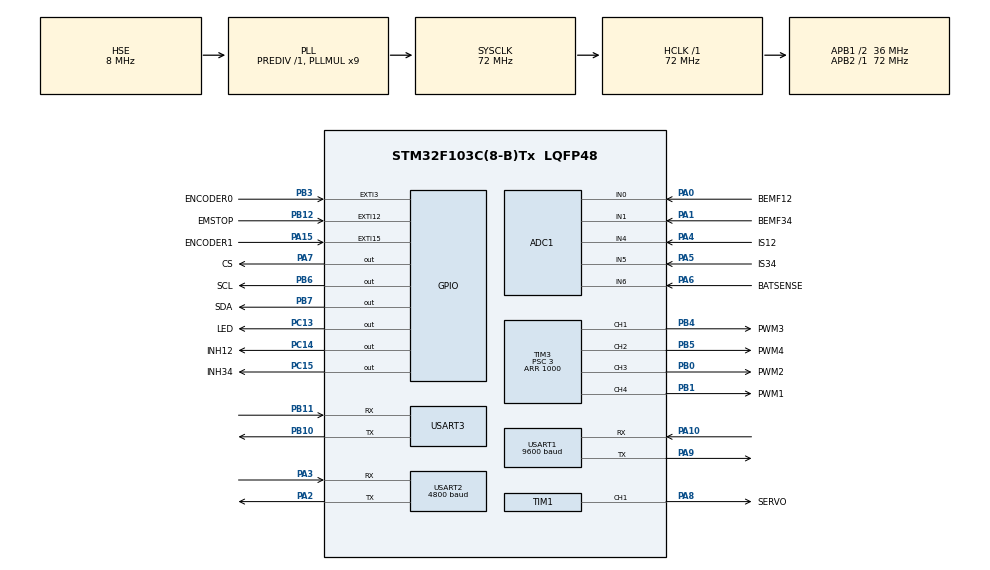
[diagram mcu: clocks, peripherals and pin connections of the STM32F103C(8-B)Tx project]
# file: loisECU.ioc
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Mcu.Family=STM32F1
NVIC.USART3_IRQn=true\:0\:0\:false\:false\:true\:true\:true
PB10.Mode=Asynchronous
USART1.BaudRate=9600
NVIC.EXTI3_IRQn=true\:0\:0\:false\:false\:true\:true\:true
PA6.GPIO_Label=BATSENSE
PB0.GPIO_Label=PWM2
PB6.GPIO_Label=SCL
PB3.GPIO_ModeDefaultEXTI=GPIO_MODE_IT_RISING_FALLING
TIM1.Pulse-PWM\ Generation1\ CH1=6500
PB11.Signal=USART3_RX
PC15-OSC32_OUT.GPIO_Label=INH34
TIM3.Channel-PWM\ Generation4\ CH4=TIM_CHANNEL_4
RCC.SYSCLKSource=RCC_SYSCLKSOURCE_PLLCLK
ProjectManager.StackSize=0x400
PD1-OSC_OUT.Signal=RCC_OSC_OUT
PA15.GPIO_Label=ENCODER1
TIM1.Prescaler=21
PA15.GPIO_ModeDefaultEXTI=GPIO_MODE_IT_RISING_FALLING
ADC1.Channel-3\#ChannelRegularConversion=ADC_CHANNEL_5
RCC.HCLKFreq_Value=72000000
RCC.APB2TimFreq_Value=72000000
TIM3.Period=1000
PB6.Signal=GPIO_Output
Dma.ADC1.0.Direction=DMA_PERIPH_TO_MEMORY
ADC1.Channel-2\#ChannelRegularConversion=ADC_CHANNEL_4
TIM2.ClockDivision=TIM_CLOCKDIVISION_DIV4
Dma.ADC1.0.MemDataAlignment=DMA_MDATAALIGN_WORD
RCC.AHBFreq_Value=72000000
TIM3.Channel-PWM\ Generation1\ CH1=TIM_CHANNEL_1
TIM3.ClockDivision=TIM_CLOCKDIVISION_DIV1
NVIC.EXTI15_10_IRQn=true\:0\:0\:false\:false\:true\:true\:true
ADC1.Channel-0\#ChannelRegularConversion=ADC_CHANNEL_0
RCC.PLLMUL=RCC_PLL_MUL9
PB12.GPIO_Label=EMSTOP
ADC1.SamplingTime-4\#ChannelRegularConversion=ADC_SAMPLETIME_1CYCLE_5
PB3.GPIO_PuPd=GPIO_NOPULL
ADC1.Rank-2\#ChannelRegularConversion=3
TIM1.Channel-PWM\ Generation1\ CH1=TIM_CHANNEL_1
PA14.Mode=Serial_Wire
TIM3.Prescaler=3
PB1.GPIO_Label=PWM1
Dma.ADC1.0.PeriphInc=DMA_PINC_DISABLE
NVIC.TIM2_IRQn=true\:0\:0\:false\:false\:true\:true\:true
PB7.Signal=GPIO_Output
PA8.Signal=S_TIM1_CH1
SH.ADCx_IN0.0=ADC1_IN0,IN0
SH.S_TIM3_CH1.0=TIM3_CH1,PWM Generation1 CH1
TIM4.Period=6550
VP_TIM1_VS_ClockSourceINT.Mode=Internal
ADC1.SamplingTime-0\#ChannelRegularConversion=ADC_SAMPLETIME_1CYCLE_5
PB7.GPIO_Label=SDA
Mcu.Package=LQFP48
TIM2.Prescaler=7250
PB1.Signal=S_TIM3_CH4
PA6.Signal=ADCx_IN6
USART2.VirtualMode=VM_ASYNC
PA10.Signal=USART1_RX
PA15.Signal=GPXTI15
SH.ADCx_IN1.0=ADC1_IN1,IN1
PB5.GPIO_Label=PWM4
RCC.APB1TimFreq_Value=72000000
PC14-OSC32_IN.GPIO_Label=INH12
TIM1.Period=65535
NVIC.USART1_IRQn=true\:0\:0\:false\:false\:true\:true\:true
Dma.Request0=ADC1
PA4.GPIO_Label=IS12
VP_TIM3_VS_ClockSourceINT.Mode=Internal
ADC1.Rank-4\#ChannelRegularConversion=5
PB4.Signal=S_TIM3_CH1
PA3.Signal=USART2_RX
PB3.GPIO_Label=ENCODER0
RCC.PLLSourceVirtual=RCC_PLLSOURCE_HSE
TIM4.AutoReloadPreload=TIM_AUTORELOAD_PRELOAD_ENABLE
Dma.ADC1.0.Instance=DMA1_Channel1
ADC1.Rank-0\#ChannelRegularConversion=1
PD1-OSC_OUT.Mode=HSE-External-Oscillator
ADC1.Channel-4\#ChannelRegularConversion=ADC_CHANNEL_6
PA10.Mode=Asynchronous
TIM3.AutoReloadPreload=TIM_AUTORELOAD_PRELOAD_ENABLE
SH.ADCx_IN6.0=ADC1_IN6,IN6
PC13-TAMPER-RTC.Signal=GPIO_Output
RCC.USBPrescaler=RCC_USBCLKSOURCE_PLL_DIV1_5
PD0-OSC_IN.Signal=RCC_OSC_IN
RCC.APB1CLKDivider=RCC_HCLK_DIV2
PC14-OSC32_IN.Signal=GPIO_Output
SH.S_TIM3_CH3.0=TIM3_CH3,PWM Generation3 CH3
NVIC.USART2_IRQn=true\:0\:0\:false\:false\:true\:true\:true
USART2.BaudRate=4800
ADC1.SamplingTime-2\#ChannelRegularConversion=ADC_SAMPLETIME_1CYCLE_5
PA0-WKUP.GPIO_Label=BEMF12
PA0-WKUP.Signal=ADCx_IN0
RCC.ADCPresc=RCC_ADCPCLK2_DIV6
PA3.Mode=Asynchronous
PA13.Signal=SYS_JTMS-SWDIO
TIM3.Channel-PWM\ Generation3\ CH3=TIM_CHANNEL_3
Dma.ADC1.0.PeriphDataAlignment=DMA_PDATAALIGN_WORD
PA9.Mode=Asynchronous
PA8.GPIO_Label=SERVO
SH.S_TIM1_CH1.0=TIM1_CH1,PWM Generation1 CH1
PB11.Mode=Asynchronous
ProjectManager.TargetToolchain=STM32CubeIDE
Dma.ADC1.0.Mode=DMA_CIRCULAR
Dma.ADC1.0.Priority=DMA_PRIORITY_LOW
PA9.Signal=USART1_TX
ADC1.Channel-1\#ChannelRegularConversion=ADC_CHANNEL_1
RCC.USBFreq_Value=48000000
TIM4.Prescaler=1000
PC15-OSC32_OUT.Signal=GPIO_Output
PA1.Signal=ADCx_IN1
PD0-OSC_IN.Mode=HSE-External-Oscillator
PB10.Signal=USART3_TX
PA5.Signal=ADCx_IN5
SH.S_TIM3_CH2.0=TIM3_CH2,PWM Generation2 CH2
board=custom
PC13-TAMPER-RTC.GPIO_Label=LED
RCC.APB2Freq_Value=72000000
PB4.GPIO_Label=PWM3
TIM4.ClockDivision=TIM_CLOCKDIVISION_DIV4
VP_TIM2_VS_ClockSourceINT.Mode=Internal
VP_TIM4_VS_ClockSourceITR.Mode=TriggerSource_ITR0
PA1.GPIO_Label=BEMF34
SH.ADCx_IN4.0=ADC1_IN4,IN4
TIM2.Period=0xffff
ADC1.NbrOfConversion=5
PA13.Mode=Serial_Wire
Mcu.Name=STM32F103C(8-B)Tx
PA2.Signal=USART2_TX
PB3.Signal=GPXTI3
PA4.Signal=ADCx_IN4
ADC1.SamplingTime-1\#ChannelRegularConversion=ADC_SAMPLETIME_1CYCLE_5
RCC.SYSCLKFreq_VALUE=72000000
PB5.Signal=S_TIM3_CH2
PA7.GPIO_Label=CS
ADC1.master=1
PA5.GPIO_Label=IS34
ADC1.Rank-3\#ChannelRegularConversion=4
ADC1.SamplingTime-3\#ChannelRegularConversion=ADC_SAMPLETIME_1CYCLE_5
USART3.VirtualMode=VM_ASYNC
USART1.VirtualMode=VM_ASYNC
ADC1.Rank-1\#ChannelRegularConversion=2
PA11.Signal=USB_DM
PA14.Signal=SYS_JTCK-SWCLK
Dma.ADC1.0.MemInc=DMA_MINC_ENABLE
ProjectManager.HeapSize=0x200
PB12.GPIO_ModeDefaultEXTI=GPIO_MODE_IT_RISING_FALLING
SH.ADCx_IN5.0=ADC1_IN5,IN5
NVIC.PriorityGroup=NVIC_PRIORITYGROUP_4
ADC1.NbrOfConversionFlag=1
TIM3.Channel-PWM\ Generation2\ CH2=TIM_CHANNEL_2
PA15.GPIO_PuPd=GPIO_NOPULL
PA2.Mode=Asynchronous
TIM2.AutoReloadPreload=TIM_AUTORELOAD_PRELOAD_ENABLE
NVIC.DMA1_Channel1_IRQn=true\:1\:0\:true\:false\:true\:false\:true
PB12.GPIO_PuPd=GPIO_NOPULL
NVIC.TIM4_IRQn=true\:0\:0\:false\:false\:true\:true\:true
RCC.APB1Freq_Value=36000000
PB0.Signal=S_TIM3_CH3
PB12.Signal=GPXTI12
SH.S_TIM3_CH4.0=TIM3_CH4,PWM Generation4 CH4
PA7.Signal=GPIO_Output

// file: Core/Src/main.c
/* USER CODE BEGIN Header */
/**
  ******************************************************************************
  * @file           : main.c
  * @brief          : Main program body
  ******************************************************************************
  * @attention
  *
  * <h2><center>&copy; Copyright (c) 2020 STMicroelectronics.
  * All rights reserved.</center></h2>
  *
  * This software component is licensed by ST under BSD 3-Clause license,
  * the "License"; You may not use this file except in compliance with the
  * License. You may obtain a copy of the License at:
  *                        opensource.org/licenses/BSD-3-Clause
  *
  ******************************************************************************
  */
/* USER CODE END Header */

#include "main.h"

/* USER CODE BEGIN PD */
#define SERVO_OFFSET 1750
#define SERVO_RANGE 6500
#define BALLSHITTER_TIME 2000
/* USER CODE END PD */

ADC_HandleTypeDef hadc1;
DMA_HandleTypeDef hdma_adc1;

TIM_HandleTypeDef htim1;
TIM_HandleTypeDef htim2;
TIM_HandleTypeDef htim3;
TIM_HandleTypeDef htim4;

UART_HandleTypeDef huart1;
UART_HandleTypeDef huart2;
UART_HandleTypeDef huart3;

/* USER CODE BEGIN PV */
// Host communication interface
char interfaceBuf[MEMDEPTH_INTERFACE];
QUEUE_t interfaceQueue;
INTERFACE_Data_t interfaceData;

// RPM control and odometry
ODOMETRY_t odom;
RPMCTRL_t ctrlLeft, ctrlRight;
CTRL_t piLeft, piRight;

// Software I2C
uint8_t wireRx[MEMDEPTH_WIRE];
uint8_t wireTx[MEMDEPTH_WIRE];
QUEUE_t wireRxQueue, wireTxQueue;
WIRE_t wire;

// UART input
char uart3In, uart1In, uart2In;

// Recording
char recordBuf1[MEMDEPTH_RECORD];
char recordBuf2[MEMDEPTH_RECORD];
QUEUE_t record1, record2;
Recordmode recordmode = RECORD_RPM;
bool recordDone = false;
uint32_t records = 0;
uint32_t recordIt = 0;

// Compass and GPS
char kvhBuf[MEMDEPTH_KVH];
char gpsBuf[MEMDEPTH_GPS];
QUEUE_t kvhQueue;
QUEUE_t gpsQueue;

// General data containers
NMEA_InputData_t kvhInput;
MovingAvg_t kvhFilter;
int kvhFilterBuf[MEMDEPTH_KVH_MOVINGAVG];

NMEA_InputData_t gpsInput;

GPSData_t gpsData;

uint32_t adcValues[ADC_SAMPLES];
bool tgl = false;

TERMINALMODE_t terminalMode;

EMERGENCY_t emergencyStop;
bool shit;
/* USER CODE END PV */

void SystemClock_Config(void);
static void MX_GPIO_Init(void);
static void MX_DMA_Init(void);
static void MX_ADC1_Init(void);
static void MX_TIM1_Init(void);
static void MX_TIM2_Init(void);
static void MX_TIM3_Init(void);
static void MX_TIM4_Init(void);
static void MX_USART1_UART_Init(void);
static void MX_USART2_UART_Init(void);
static void MX_USART3_UART_Init(void);

/* USER CODE BEGIN 0 */
/*
 * @brief Toggle SPI chipselect for debugging.
 */
void CSTGL()
{
	tgl = !tgl;
	if(tgl)
	{
	 HAL_GPIO_WritePin(CS_GPIO_Port, CS_Pin, 1);
	}
	else
	{
	 HAL_GPIO_WritePin(CS_GPIO_Port, CS_Pin, 0);
	}
}

/*
 * @brief Disable IRQs
 */
void disableIRQ()
{
	__disable_irq();
}

/*
 * @brief Enable IRQs and restart UART
 */
void enableIRQ()
{
	__enable_irq();
	HAL_UART_Receive_IT(&huart1, (uint8_t*)&uart1In, 1);
	HAL_UART_Receive_IT(&huart2, (uint8_t*)&uart2In, 1);
	HAL_UART_Receive_IT(&huart3, (uint8_t*)&uart3In, 1);
}

/*
 * @brief Send message to host
 * @param message Message payload
 * @prarm len Message length
 */
void INTERFACE_SendMessage(char* message, int len)
{
	if(!TERMINALMODE_IsEnabled(&terminalMode))
	{
		HAL_UART_Transmit(&huart3, (uint8_t*)message, (uint16_t)len, 1000);
	}
}

/*
 * @brief UART ISR
 * @brief Pushes data to corresponding dataqueues depending on operation mode.
 */
void HAL_UART_RxCpltCallback(UART_HandleTypeDef *huart)
{
	disableIRQ();
	if(huart->Instance == huart1.Instance) // GPS receiver
	{
		if(!QUEUE_IsFull(&gpsQueue))
		{
			QUEUE_Push(uart1In, &gpsQueue);
		}

		if(TERMINALMODE_IsEnabled(&terminalMode))
		{
			if(!QUEUE_IsFull(&record2))
			{
				QUEUE_Push(uart1In, &record2);
			}
		}
	}
	else if(huart->Instance == huart2.Instance) // Compass
	{
		if(!QUEUE_IsFull(&kvhQueue))
		{
			QUEUE_Push(uart2In, &kvhQueue);
		}

		if(TERMINALMODE_IsEnabled(&terminalMode))
		{
			if(!QUEUE_IsFull(&record2))
			{
				QUEUE_Push(uart2In, &record2);
			}
		}
	}
	else if(huart->Instance == huart3.Instance) // Host communication
	{
		if(!QUEUE_IsFull(&interfaceQueue))
		{
			QUEUE_Push(uart3In, &interfaceQueue);
		}

		if(TERMINALMODE_IsEnabled(&terminalMode))
		{
			if(!QUEUE_IsFull(&record1))
			{
				QUEUE_Push(uart3In, &record1);
			}
		}
	}
	enableIRQ();
}

/**
 * @brief Process recording activities and send data to host if demanded.
 * @brief Disables and reenables IRQs
 */
void RECORD_Process()
{
	char msgBuf[ROBOT_MESSAGE_MAXLEN];
	int len;
	int instruction;
	if(RECORD_RPM == recordmode || RECORD_CURRENT == recordmode) // RPM or Current
	{
		instruction = ROBOT_INSTRUCTION_RECORDRPM;
		if(RPMCTRL_IsRecordDone(&ctrlLeft) && RPMCTRL_IsRecordDone(&ctrlRight))
		{
			disableIRQ();
			RPMCTRL_StopRecord(&ctrlLeft);
			RPMCTRL_StopRecord(&ctrlRight);
			while(!QUEUE_IsEmpty(&record1) || !QUEUE_IsEmpty(&record2))
			{	  if(!QUEUE_IsEmpty(&kvhQueue))
			  {
				  NMEA_Parse(QUEUE_Pop(&kvhQueue), &kvhInput);
			  }
				uint16_t val1 = 10;
				uint16_t val2 = 10;
				if(!QUEUE_IsEmpty(&record1))
				{
					val1 = QUEUE_Pop16(&record1);
				}
				if(!QUEUE_IsEmpty(&record2))
				{
					val2 = QUEUE_Pop16(&record2);
				}
				len = INTERFACE_CreateMessage16(msgBuf, ROBOT_INSTRUCTION_RECORDRPM, val1, val2);
				INTERFACE_SendMessage(msgBuf, len);
			}
			len = INTERFACE_CreateMessage16(msgBuf, instruction, 0, 0);
			INTERFACE_SendMessage(msgBuf, len);
			INTERFACE_ResetPeriodics();
			enableIRQ();
		}
	}
	else if(RECORD_HEADING == recordmode && recordDone) // Compass heading
	{
		uint16_t val1 = 0;
		uint16_t val2 = 0;
		instruction = ROBOT_INSTRUCTION_RECORDHEADING;
		disableIRQ();
		while(!QUEUE_IsEmpty(&record1))
		{
			val1 = 362;
			val2 = 362;
			if(!QUEUE_IsEmpty(&record1))
			{
				val1 = QUEUE_Pop16(&record1);
			}
			if(!QUEUE_IsEmpty(&record1))
			{
				val2 = QUEUE_Pop16(&record1);
			}
			len = INTERFACE_CreateMessage16(msgBuf, instruction, val1, val2);
			INTERFACE_SendMessage(msgBuf, len);
		}
		while(!QUEUE_IsEmpty(&record2))
		{
			val1 = 362;
			val2 = 362;
			if(!QUEUE_IsEmpty(&record2))
			{
				val1 = QUEUE_Pop16(&record2);
			}
			if(!QUEUE_IsEmpty(&record2))
			{
				val2 = QUEUE_Pop16(&record2);
			}
			len = INTERFACE_CreateMessage16(msgBuf, instruction, val1, val2);
			INTERFACE_SendMessage(msgBuf, len);
		}
		len = INTERFACE_CreateMessage16(msgBuf, instruction, 362, 362);
		INTERFACE_SendMessage(msgBuf, len);
		recordmode = RECORD_RPM;
		recordDone = false;
		INTERFACE_ResetPeriodics();
		enableIRQ();
	}
}

/*
 * @brief Callback for host data processing
 * @param dat Received data
 */
void INTERFACE_Process(INTERFACE_Data_t* dat)
{
	disableIRQ();
	switch(dat->instruction)
	{
	case ROBOT_INSTRUCTION_DUTYCYCLE:
		RPMCTRL_Ignore(&ctrlLeft, true, &piLeft);
		RPMCTRL_Ignore(&ctrlRight, true, &piRight);
		RPMCTRL_SetDest(&ctrlLeft, (int)((short)dat->val1), &piLeft);
		RPMCTRL_SetDest(&ctrlRight, (int)((short)dat->val2), &piRight);
		break;
	case ROBOT_INSTRUCTION_RPM:
		RPMCTRL_Ignore(&ctrlLeft, false, &piLeft);
		RPMCTRL_Ignore(&ctrlRight, false, &piRight);
		RPMCTRL_SetDest(&ctrlLeft, (int)((short)dat->val1), &piLeft);
		RPMCTRL_SetDest(&ctrlRight, (int)((short)dat->val2), &piRight);
		break;
	case ROBOT_INSTRUCTION_LED:
		HAL_GPIO_WritePin(LED_GPIO_Port, LED_Pin, (GPIO_PinState)dat->val2);
		break;
	case ROBOT_INSTRUCTION_RECORDRPM:
		recordmode = RECORD_RPM;
		RPMCTRL_StartRecord(&ctrlLeft, (uint32_t)dat->val1, &record1, false);
		RPMCTRL_StartRecord(&ctrlRight, (uint32_t)dat->val2, &record2, false);
		break;
	case ROBOT_INSTRUCTION_RECORDCURRENT:
		recordmode = RECORD_CURRENT;
		RPMCTRL_StartRecord(&ctrlLeft, (uint32_t)dat->val1, &record1, true);
		RPMCTRL_StartRecord(&ctrlRight, (uint32_t)dat->val2, &record2, true);
		break;
	case ROBOT_INSTRUCTION_LEFT_KP:
		CTRL_Init(piLeft.Ka, float_2x16(dat->val1, dat->val2), piLeft.Tn, piLeft.Td, piLeft.T, piLeft.Lp, piLeft.maxIn, piLeft.maxOut, &piLeft);
		break;
	case ROBOT_INSTRUCTION_LEFT_TN:
		CTRL_Init(piLeft.Ka, piLeft.Kp, float_2x16(dat->val1, dat->val2), piLeft.Td, piLeft.T, piLeft.Lp, piLeft.maxIn, piLeft.maxOut, &piLeft);
		break;
	case ROBOT_INSTRUCTION_LEFT_TD:
		CTRL_Init(piLeft.Ka, piLeft.Kp, piLeft.Tn, float_2x16(dat->val1, dat->val2), piLeft.T, piLeft.Lp, piLeft.maxIn, piLeft.maxOut, &piLeft);
		break;
	case ROBOT_INSTRUCTION_LEFT_KA:
		CTRL_Init(float_2x16(dat->val1, dat->val2), piLeft.Kp, piLeft.Tn, piLeft.Td, piLeft.T, piLeft.Lp, piLeft.maxIn, piLeft.maxOut, &piLeft);
		break;
	case ROBOT_INSTRUCTION_RIGHT_KP:
		CTRL_Init(piRight.Ka, float_2x16(dat->val1, dat->val2), piRight.Tn, piRight.Td, piRight.T, piRight.Lp, piRight.maxIn, piRight.maxOut, &piRight);
		break;
	case ROBOT_INSTRUCTION_RIGHT_TN:
		CTRL_Init(piRight.Ka, piRight.Kp, float_2x16(dat->val1, dat->val2), piRight.Td, piRight.T, piRight.Lp, piRight.maxIn, piRight.maxOut, &piRight);
		break;
	case ROBOT_INSTRUCTION_RIGHT_TD:
		CTRL_Init(piRight.Ka, piRight.Kp, piRight.Tn, float_2x16(dat->val1, dat->val2), piRight.T, piRight.Lp, piRight.maxIn, piRight.maxOut, &piRight);
		break;
	case ROBOT_INSTRUCTION_RIGHT_KA:
		CTRL_Init(float_2x16(dat->val1, dat->val2), piRight.Kp, piRight.Tn, piRight.Td, piRight.T, piRight.Lp, piRight.maxIn, piRight.maxOut, &piRight);
		break;
	case ROBOT_INSTRUCTION_RPM_LOWPASS:
		CTRL_Init(piLeft.Ka, piLeft.Kp, piLeft.Tn, piLeft.Td, piLeft.T, float_2x16(dat->val1, dat->val2), piLeft.maxIn, piLeft.maxOut, &piLeft);
		CTRL_Init(piRight.Ka, piRight.Kp, piRight.Tn, piRight.Td, piRight.T, float_2x16(dat->val1, dat->val2), piRight.maxIn, piRight.maxOut, &piRight);
		break;
	case ROBOT_INSTRUCTION_RECORDHEADING:
		records = uint32_2x16(dat->val1, dat->val2);
		recordDone = false;
		recordIt = 0;
		QUEUE_Reset(&record1);
		QUEUE_Reset(&record2);
		recordmode = RECORD_HEADING;
		break;
	case ROBOT_PERIODIC_DATE:
	case ROBOT_PERIODIC_ENCODERS:
	case ROBOT_PERIODIC_HEADING:
	case ROBOT_PERIODIC_LATLON:
	case ROBOT_PERIODIC_TIME:
		INTERFACE_SetPeriod((uint8_t)dat->instruction, dat->val2);
		break;
	case ROBOT_INSTRUCTION_TERMINALMODE:
		TERMINALMODE_Config(&terminalMode, dat->val2);
		INTERFACE_EnableCRC(!(TERMINAL_NOCS == terminalMode.input));
	case ROBOT_INSTRUCTION_LEFT_CORRFAC_SHORT:
		ctrlLeft.corrfacShort = float_2x16(dat->val1, dat->val2);
		break;
	case ROBOT_INSTRUCTION_LEFT_CORRFAC_LONG:
		ctrlLeft.corrfacLong = float_2x16(dat->val1, dat->val2);
		break;
	case ROBOT_INSTRUCTION_RIGHT_CORRFAC_SHORT:
		ctrlRight.corrfacShort = float_2x16(dat->val1, dat->val2);
		break;
	case ROBOT_INSTRUCTION_RIGHT_CORRFAC_LONG:
		ctrlRight.corrfacLong = float_2x16(dat->val1, dat->val2);
		break;
	case ROBOT_INSTRUCTION_RESET:
		ctrlLeft.eternalTicks = 0;
		ctrlRight.eternalTicks = 0;
		break;
	case ROBOT_INSTRUCTION_BALLSHIT:
		shit = true;
		break;
	default: break;
	}
	enableIRQ();
}

/*
 * @brief Get Systick with 100 us resolution.
 * @brief Can overflow.
 * @return Time in us
 */
uint32_t getTick()
{
	return htim2.Instance->CNT * 100;
}

/**
 * @brief Interrupt for first encoder
 */
void ISR_ENCODER1(void)
{
	disableIRQ();
	static bool isLow = false;
	static uint32_t tick = 0;
	tick = getTick();
	isLow = !(GPIO_PIN_SET == HAL_GPIO_ReadPin(ENCODER1_GPIO_Port, ENCODER1_Pin));
	RPMCTRL_Tick(&ctrlLeft, tick, isLow);
	ODOMETRY_Update(&odom, ctrlLeft.rpm, ctrlRight.rpm, tick);
	enableIRQ();
}

/*
 * @brief Interrupt for second encoder
 */
void ISR_ENCODER0(void)
{
	disableIRQ();
	static bool isLow = false;
	static uint32_t tick = 0;
	tick = getTick();
	isLow = !(GPIO_PIN_SET == HAL_GPIO_ReadPin(ENCODER0_GPIO_Port, ENCODER0_Pin));
	RPMCTRL_Tick(&ctrlRight, tick, isLow);
	ODOMETRY_Update(&odom, ctrlLeft.rpm, ctrlRight.rpm, tick);
	enableIRQ();
}

/*
 * @brief 10 Hz timer interrupt for control loops
 */
void ISR_10Hz(void)
{
	disableIRQ();
	HAL_GPIO_WritePin(CS_GPIO_Port, CS_Pin, 1);
	RPMCTRL_Update(&ctrlLeft, &piLeft);
	RPMCTRL_Update(&ctrlRight, &piRight);
	Powertrain_SetDutycycles(ctrlLeft.dutyCycle, ctrlRight.dutyCycle);
	ADCFILTER_Process(adcValues, ADC_SAMPLES);
	RPMCTRL_SetAvgTorque(&ctrlLeft, (uint16_t)ADCFILTER_Values[ADC_IS12]);
	RPMCTRL_SetAvgTorque(&ctrlRight, (uint16_t)ADCFILTER_Values[ADC_IS34]);
	HAL_ADC_Start_DMA(&hadc1, adcValues, ADC_SAMPLES);
	HAL_GPIO_WritePin(CS_GPIO_Port, CS_Pin, 0);
	enableIRQ();
}

/*
 * @brief Emergency button event
 */
void ISR_EMSTOP(void)
{
	static bool isLow = false;
	isLow = (GPIO_PIN_SET == HAL_GPIO_ReadPin(EMSTOP_GPIO_Port, EMSTOP_Pin));

	emergencyStop.isEvent = true;
	emergencyStop.isEmergency = isLow;

	Powertrain_SetDutycycles(0, 0);
	RPMCTRL_SetDest(&ctrlLeft, 0, &piLeft);
	RPMCTRL_SetDest(&ctrlRight, 0, &piRight);
}

/*
 * @brief NMEA HDT data callback from compass
 * @param dat HDT data
 */
void NMEA_CallbackHDT(NMEA_HDTData_t* dat)
{
	MOVINGAVG_AddSample(&kvhFilter, (int)dat->heading);
	MOVINGAVG_Calculate(&kvhFilter);
	if(kvhFilter.output > 180)
	{
		kvhFilter.output -= 360;
	}

	if(RECORD_HEADING == recordmode)
	{
		if(recordIt < records)
		{
			if(!QUEUE_IsFull(&record1))
			{
				QUEUE_Push16((uint16_t)kvhFilter.output, &record1);
			}
			else if(!QUEUE_IsFull(&record2))
			{
				QUEUE_Push16((uint16_t)kvhFilter.output, &record2);
			}
			recordIt ++;
		}
		else
		{
			recordDone = true;
		}
	}
}

/*
 * @brief NMEA RMC data callback from GPS
 * @param dat RMC data
 */
void NMEA_CallbackRMC(NMEA_RMCData_t* dat)
{
	gpsData.latitude = dat->latitude;
	gpsData.longitude = dat->longitude;
	gpsData.day = dat->day;
	gpsData.month = dat->month;
	gpsData.year = dat->year;
	gpsData.hours = dat->hours;
	gpsData.minutes = dat->minutes;
	gpsData.seconds = dat->seconds;
}

void ISR_DMA(void){}

/**
 * @brief Process periodical messages and send them to host.
 * @param p Required periodic
 */
void INTERFACE_PeriodicRequired(INTERFACE_Periodic_t* p)
{
	char msgBuf[ROBOT_MESSAGE_MAXLEN];
	int len;
	disableIRQ();
	switch(p->id)
	{
	case ROBOT_PERIODIC_HEADING:
		len = INTERFACE_CreateMessage16(msgBuf, p->id, 0, (uint16_t)kvhFilter.output);
		INTERFACE_SendMessage(msgBuf, len);
		break;
	case ROBOT_PERIODIC_LATLON:
		len = INTERFACE_CreateMessage32(msgBuf, p->id, 0xffffffff);
		INTERFACE_SendMessage(msgBuf, len);
		len = INTERFACE_CreateMessageFloat(msgBuf, p->id, gpsData.latitude);
		INTERFACE_SendMessage(msgBuf, len);
		len = INTERFACE_CreateMessageFloat(msgBuf, p->id, gpsData.longitude);
		INTERFACE_SendMessage(msgBuf, len);
		break;
	case ROBOT_PERIODIC_TIME:
		len = INTERFACE_CreateMessage8(msgBuf,
				p->id,
				0,
				(uint8_t)gpsData.hours,
				(uint8_t)gpsData.minutes,
				(uint8_t)gpsData.seconds);
		INTERFACE_SendMessage(msgBuf, len);
		break;
	case ROBOT_PERIODIC_DATE:
		len = INTERFACE_CreateMessage8(msgBuf,
				p->id,
				0,
				(uint8_t)gpsData.year,
				(uint8_t)gpsData.month,
				(uint8_t)gpsData.day);
		INTERFACE_SendMessage(msgBuf, len);
		break;
	case ROBOT_PERIODIC_ENCODERS:
		len = INTERFACE_CreateMessage32(msgBuf, p->id, 0xffffffff);
		INTERFACE_SendMessage(msgBuf, len);
		len = INTERFACE_CreateMessage32(msgBuf, p->id, HAL_GetTick());
		INTERFACE_SendMessage(msgBuf, len);
		len = INTERFACE_CreateMessage32(msgBuf, p->id, (uint32_t)((int)ctrlLeft.eternalTicks));
		INTERFACE_SendMessage(msgBuf, len);
		len = INTERFACE_CreateMessage32(msgBuf, p->id, (uint32_t)((int)ctrlRight.eternalTicks));
		INTERFACE_SendMessage(msgBuf, len);
	case ROBOT_PERIODIC_ODOM:
		len = INTERFACE_CreateMessage32(msgBuf, p->id, 0xffffffff);
		INTERFACE_SendMessage(msgBuf, len);
		INTERFACE_CreateMessageFloat(msgBuf, p->id, odom.x);
		INTERFACE_SendMessage(msgBuf, len);
		INTERFACE_CreateMessageFloat(msgBuf, p->id, odom.y);
		INTERFACE_SendMessage(msgBuf, len);
		INTERFACE_CreateMessageFloat(msgBuf, p->id, odom.o);
		INTERFACE_SendMessage(msgBuf, len);
		INTERFACE_CreateMessageFloat(msgBuf, p->id, odom.dx);
		INTERFACE_SendMessage(msgBuf, len);
		INTERFACE_CreateMessageFloat(msgBuf, p->id, odom.dy);
		INTERFACE_SendMessage(msgBuf, len);
		INTERFACE_CreateMessageFloat(msgBuf, p->id, odom.w);
		INTERFACE_SendMessage(msgBuf, len);
	default: break;
	}
	enableIRQ();
}

/*
 * @brief Process terminal modes used for direct UART sensor pass-through.
 */
void TERMINAL_Process()
{
	  if(TERMINALMODE_IsEnabled(&terminalMode))
	  {
		  while(!QUEUE_IsEmpty(&record1))
		  {
			  char c = QUEUE_Pop(&record1);

			  if(TERMINALMODE_IsEnabled(&terminalMode))
			  {
			  	switch(terminalMode.input)
			  	{
			  		case TERMINAL_UART1: HAL_UART_Transmit(&huart1, (uint8_t*)&c, 1, 100); break;
			  		case TERMINAL_UART2: HAL_UART_Transmit(&huart2, (uint8_t*)&c, 1, 100); break;
			  		default: break;
			  	}
			  }
		  }
		  while(!QUEUE_IsEmpty(&record2))
		  {
			  char c = QUEUE_Pop(&record2);
			  HAL_UART_Transmit(&huart3, (uint8_t*)&c, 1, 1000);
		  }
	  }
}

/*
 * @brief Process GPS data from receive buffer
 */
void GPS_Process()
{
	  while(!QUEUE_IsEmpty(&gpsQueue))
	  {
		  NMEA_Parse(QUEUE_Pop(&gpsQueue), &gpsInput);
	  }
}

/*
 * @brief Process compass data from receive buffer
 */
void KVH_Process()
{
	  while(!QUEUE_IsEmpty(&kvhQueue))
	  {
		  NMEA_Parse(QUEUE_Pop(&kvhQueue), &kvhInput);
	  }
}

/*
 * @brief Process emergency events
 */
void EMERGENCY_Process()
{
	if(emergencyStop.isEvent)
	{
		emergencyStop.isEvent = false;
		char buf[INTERFACE_MSG_LEN + 1];
		int len = INTERFACE_CreateMessage16(buf, ROBOT_INSTRUCTION_EMSTOP, 0, emergencyStop.isEmergency);
		INTERFACE_SendMessage(buf, len);
	}
}
/* USER CODE END 0 */

int main(void)
{

  /* MCU Configuration--------------------------------------------------------*/

  /* Reset of all peripherals, Initializes the Flash interface and the Systick. */
  HAL_Init();

  /* Configure the system clock */
  SystemClock_Config();

  /* USER CODE BEGIN SysInit */
  // Init recording
  QUEUE_Init(&record1, recordBuf1, MEMDEPTH_RECORD);
  QUEUE_Init(&record2, recordBuf2, MEMDEPTH_RECORD);

  // Init host communication
  QUEUE_Init(&interfaceQueue, interfaceBuf, MEMDEPTH_INTERFACE);
  INTERFACE_Init();
  INTERFACE_AddPeriodic(ROBOT_PERIODIC_LATLON, ROBOT_PERIOD_LATLON);
  INTERFACE_AddPeriodic(ROBOT_PERIODIC_TIME, ROBOT_PERIOD_TIME);
  INTERFACE_AddPeriodic(ROBOT_PERIODIC_DATE, ROBOT_PERIOD_DATE);
  INTERFACE_AddPeriodic(ROBOT_PERIODIC_HEADING, ROBOT_PERIOD_HEADING);
  INTERFACE_AddPeriodic(ROBOT_PERIODIC_ENCODERS, ROBOT_PERIOD_ENCODERS);
  INTERFACE_AddPeriodic(ROBOT_PERIODIC_ODOM, ROBOT_PERIOD_ODOM);

  // Init RPM control
  CTRL_Init(ROBOT_LEFT_KA, ROBOT_LEFT_KP, ROBOT_LEFT_TN, ROBOT_LEFT_TD, ROBOT_RPMCTRL_T, ROBOT_LEFT_LP, ROBOT_RPM_MAX, ROBOT_DUTYCYCLE_MAX, &piLeft);
  CTRL_Init(ROBOT_RIGHT_KA, ROBOT_RIGHT_KP, ROBOT_RIGHT_TN, ROBOT_RIGHT_TD, ROBOT_RPMCTRL_T, ROBOT_RIGHT_LP, ROBOT_RPM_MAX, ROBOT_DUTYCYCLE_MAX, &piRight);
  RPMCTRL_Init(ROBOT_ENCODER_STEPS, ROBOT_LEFT_CORRFACSHORT, ROBOT_LEFT_CORRFACLONG, &ctrlLeft);
  RPMCTRL_Init(ROBOT_ENCODER_STEPS, ROBOT_RIGHT_CORRFACSHORT, ROBOT_RIGHT_CORRFACLONG, &ctrlRight);
  ODOMETRY_Init(ROBOT_ENCODER_STEPS, ROBOT_WHEELRADIUS_M, ROBOT_WHEELWIDTH_M, &odom);

  // Init UART sensors
  QUEUE_Init(&kvhQueue, kvhBuf, MEMDEPTH_KVH);
  QUEUE_Init(&gpsQueue, gpsBuf, MEMDEPTH_GPS);

  MOVINGAVG_Init(&kvhFilter, kvhFilterBuf, MEMDEPTH_KVH_MOVINGAVG);
  NMEA_Init(&kvhInput);

  NMEA_Init(&gpsInput);

  TERMINALMODE_Config(&terminalMode, TERMINAL_DISABLE);

  emergencyStop.isEmergency = false;
  emergencyStop.isEvent = false;
  __enable_irq();

  /* USER CODE END SysInit */

  /* Initialize all configured peripherals */
  MX_GPIO_Init();
  MX_DMA_Init();
  MX_ADC1_Init();
  MX_TIM1_Init();
  MX_TIM2_Init();
  MX_TIM3_Init();
  MX_TIM4_Init();
  MX_USART1_UART_Init();
  MX_USART2_UART_Init();
  MX_USART3_UART_Init();
  /* USER CODE BEGIN 2 */

  Powertrain_Init();
  Ballshitter_Init();
  //KVH_Init();

  // Init software I2C
  QUEUE_Init(&wireRxQueue, (char*)wireRx, 20);
  QUEUE_Init(&wireTxQueue, (char*)wireTx, 20);
  WIRE_Init(&wire,
		  SDA_GPIO_Port, SDA_Pin,
		  SCL_GPIO_Port, SCL_Pin,
		  400,
		  &wireRxQueue, &wireTxQueue);
  WIRE_Begin(&wire);

  /* USER CODE END 2 */

  /* Infinite loop */
  /* USER CODE BEGIN WHILE */
  while (1)
  {
//	  disableIRQ();
//	  __disable_irq();
	  INTERFACE_Parse(&interfaceQueue);
	  RECORD_Process();
	  INTERFACE_ProcessPeriodics();
	  TERMINAL_Process();
	  KVH_Process();
//	  GPS_Process();
	  EMERGENCY_Process();
	  Ballshitter_Drop();
//	  	__enable_irq();

//	  	HAL_UART_Receive_IT(&huart1, (uint8_t*)&uart1In, 1);
//	  	HAL_UART_Receive_IT(&huart2, (uint8_t*)&uart2In, 1);
//	  	HAL_UART_Receive_IT(&huart3, (uint8_t*)&uart3In, 1);
//	    HAL_TIM_Base_Start_IT(&htim2);
//	    HAL_TIM_PWM_Start(&htim3, TIM_CHANNEL_1);
//	    HAL_TIM_PWM_Start(&htim3, TIM_CHANNEL_2);
//	    HAL_TIM_PWM_Start(&htim3, TIM_CHANNEL_3);
//	    HAL_TIM_PWM_Start(&htim3, TIM_CHANNEL_4);
//	    HAL_TIM_Base_Start_IT(&htim4);
//	  HAL_Delay(200);
//	  enableIRQ();
    /* USER CODE END WHILE */

  }
}

void SystemClock_Config(void)
{
  RCC_OscInitTypeDef RCC_OscInitStruct = {0};
  RCC_ClkInitTypeDef RCC_ClkInitStruct = {0};
  RCC_PeriphCLKInitTypeDef PeriphClkInit = {0};

  /** Initializes the CPU, AHB and APB busses clocks
  */
  RCC_OscInitStruct.OscillatorType = RCC_OSCILLATORTYPE_HSE;
  RCC_OscInitStruct.HSEState = RCC_HSE_ON;
  RCC_OscInitStruct.HSEPredivValue = RCC_HSE_PREDIV_DIV1;
  RCC_OscInitStruct.HSIState = RCC_HSI_ON;
  RCC_OscInitStruct.PLL.PLLState = RCC_PLL_ON;
  RCC_OscInitStruct.PLL.PLLSource = RCC_PLLSOURCE_HSE;
  RCC_OscInitStruct.PLL.PLLMUL = RCC_PLL_MUL9;
  if (HAL_RCC_OscConfig(&RCC_OscInitStruct) != HAL_OK)
  {
    Error_Handler();
  }
  /** Initializes the CPU, AHB and APB busses clocks
  */
  RCC_ClkInitStruct.ClockType = RCC_CLOCKTYPE_HCLK|RCC_CLOCKTYPE_SYSCLK
                              |RCC_CLOCKTYPE_PCLK1|RCC_CLOCKTYPE_PCLK2;
  RCC_ClkInitStruct.SYSCLKSource = RCC_SYSCLKSOURCE_PLLCLK;
  RCC_ClkInitStruct.AHBCLKDivider = RCC_SYSCLK_DIV1;
  RCC_ClkInitStruct.APB1CLKDivider = RCC_HCLK_DIV2;
  RCC_ClkInitStruct.APB2CLKDivider = RCC_HCLK_DIV1;

  if (HAL_RCC_ClockConfig(&RCC_ClkInitStruct, FLASH_LATENCY_2) != HAL_OK)
  {
    Error_Handler();
  }
  PeriphClkInit.PeriphClockSelection = RCC_PERIPHCLK_ADC;
  PeriphClkInit.AdcClockSelection = RCC_ADCPCLK2_DIV6;
  if (HAL_RCCEx_PeriphCLKConfig(&PeriphClkInit) != HAL_OK)
  {
    Error_Handler();
  }
}

static void MX_ADC1_Init(void)
{

  ADC_ChannelConfTypeDef sConfig = {0};

  /** Common config
  */
  hadc1.Instance = ADC1;
  hadc1.Init.ScanConvMode = ADC_SCAN_ENABLE;
  hadc1.Init.ContinuousConvMode = DISABLE;
  hadc1.Init.DiscontinuousConvMode = DISABLE;
  hadc1.Init.ExternalTrigConv = ADC_SOFTWARE_START;
  hadc1.Init.DataAlign = ADC_DATAALIGN_RIGHT;
  hadc1.Init.NbrOfConversion = 5;
  if (HAL_ADC_Init(&hadc1) != HAL_OK)
  {
    Error_Handler();
  }
  /** Configure Regular Channel
  */
  sConfig.Channel = ADC_CHANNEL_0;
  sConfig.Rank = ADC_REGULAR_RANK_1;
  sConfig.SamplingTime = ADC_SAMPLETIME_1CYCLE_5;
  if (HAL_ADC_ConfigChannel(&hadc1, &sConfig) != HAL_OK)
  {
    Error_Handler();
  }
  /** Configure Regular Channel
  */
  sConfig.Channel = ADC_CHANNEL_1;
  sConfig.Rank = ADC_REGULAR_RANK_2;
  if (HAL_ADC_ConfigChannel(&hadc1, &sConfig) != HAL_OK)
  {
    Error_Handler();
  }
  /** Configure Regular Channel
  */
  sConfig.Channel = ADC_CHANNEL_4;
  sConfig.Rank = ADC_REGULAR_RANK_3;
  if (HAL_ADC_ConfigChannel(&hadc1, &sConfig) != HAL_OK)
  {
    Error_Handler();
  }
  /** Configure Regular Channel
  */
  sConfig.Channel = ADC_CHANNEL_5;
  sConfig.Rank = ADC_REGULAR_RANK_4;
  if (HAL_ADC_ConfigChannel(&hadc1, &sConfig) != HAL_OK)
  {
    Error_Handler();
  }
  /** Configure Regular Channel
  */
  sConfig.Channel = ADC_CHANNEL_6;
  sConfig.Rank = ADC_REGULAR_RANK_5;
  if (HAL_ADC_ConfigChannel(&hadc1, &sConfig) != HAL_OK)
  {
    Error_Handler();
  }
  /* USER CODE BEGIN ADC1_Init 2 */
//  hadc1.Init.ContinuousConvMode = ENABLE;
//  if (HAL_ADC_Init(&hadc1) != HAL_OK)
//  {
//    Error_Handler();
//  }
//  HAL_ADC_Start_DMA(&hadc1, adcValues, ADC_SAMPLES);
  /* USER CODE END ADC1_Init 2 */

}

static void MX_TIM1_Init(void)
{

  TIM_ClockConfigTypeDef sClockSourceConfig = {0};
  TIM_MasterConfigTypeDef sMasterConfig = {0};
  TIM_OC_InitTypeDef sConfigOC = {0};
  TIM_BreakDeadTimeConfigTypeDef sBreakDeadTimeConfig = {0};

  htim1.Instance = TIM1;
  htim1.Init.Prescaler = 21;
  htim1.Init.CounterMode = TIM_COUNTERMODE_UP;
  htim1.Init.Period = 65535;
  htim1.Init.ClockDivision = TIM_CLOCKDIVISION_DIV1;
  htim1.Init.RepetitionCounter = 0;
  htim1.Init.AutoReloadPreload = TIM_AUTORELOAD_PRELOAD_DISABLE;
  if (HAL_TIM_Base_Init(&htim1) != HAL_OK)
  {
    Error_Handler();
  }
  sClockSourceConfig.ClockSource = TIM_CLOCKSOURCE_INTERNAL;
  if (HAL_TIM_ConfigClockSource(&htim1, &sClockSourceConfig) != HAL_OK)
  {
    Error_Handler();
  }
  if (HAL_TIM_PWM_Init(&htim1) != HAL_OK)
  {
    Error_Handler();
  }
  sMasterConfig.MasterOutputTrigger = TIM_TRGO_RESET;
  sMasterConfig.MasterSlaveMode = TIM_MASTERSLAVEMODE_DISABLE;
  if (HAL_TIMEx_MasterConfigSynchronization(&htim1, &sMasterConfig) != HAL_OK)
  {
    Error_Handler();
  }
  sConfigOC.OCMode = TIM_OCMODE_PWM1;
  sConfigOC.Pulse = 6500;
  sConfigOC.OCPolarity = TIM_OCPOLARITY_HIGH;
  sConfigOC.OCNPolarity = TIM_OCNPOLARITY_HIGH;
  sConfigOC.OCFastMode = TIM_OCFAST_DISABLE;
  sConfigOC.OCIdleState = TIM_OCIDLESTATE_RESET;
  sConfigOC.OCNIdleState = TIM_OCNIDLESTATE_RESET;
  if (HAL_TIM_PWM_ConfigChannel(&htim1, &sConfigOC, TIM_CHANNEL_1) != HAL_OK)
  {
    Error_Handler();
  }
  sBreakDeadTimeConfig.OffStateRunMode = TIM_OSSR_DISABLE;
  sBreakDeadTimeConfig.OffStateIDLEMode = TIM_OSSI_DISABLE;
  sBreakDeadTimeConfig.LockLevel = TIM_LOCKLEVEL_OFF;
  sBreakDeadTimeConfig.DeadTime = 0;
  sBreakDeadTimeConfig.BreakState = TIM_BREAK_DISABLE;
  sBreakDeadTimeConfig.BreakPolarity = TIM_BREAKPOLARITY_HIGH;
  sBreakDeadTimeConfig.AutomaticOutput = TIM_AUTOMATICOUTPUT_DISABLE;
  if (HAL_TIMEx_ConfigBreakDeadTime(&htim1, &sBreakDeadTimeConfig) != HAL_OK)
  {
    Error_Handler();
  }
  /* USER CODE BEGIN TIM1_Init 2 */
  HAL_TIM_PWM_Start(&htim1, TIM_CHANNEL_1);
  /* USER CODE END TIM1_Init 2 */
  HAL_TIM_MspPostInit(&htim1);

}

static void MX_TIM2_Init(void)
{

  TIM_ClockConfigTypeDef sClockSourceConfig = {0};
  TIM_MasterConfigTypeDef sMasterConfig = {0};

  htim2.Instance = TIM2;
  htim2.Init.Prescaler = 7250;
  htim2.Init.CounterMode = TIM_COUNTERMODE_UP;
  htim2.Init.Period = 0xffff;
  htim2.Init.ClockDivision = TIM_CLOCKDIVISION_DIV4;
  htim2.Init.AutoReloadPreload = TIM_AUTORELOAD_PRELOAD_ENABLE;
  if (HAL_TIM_Base_Init(&htim2) != HAL_OK)
  {
    Error_Handler();
  }
  sClockSourceConfig.ClockSource = TIM_CLOCKSOURCE_INTERNAL;
  if (HAL_TIM_ConfigClockSource(&htim2, &sClockSourceConfig) != HAL_OK)
  {
    Error_Handler();
  }
  sMasterConfig.MasterOutputTrigger = TIM_TRGO_RESET;
  sMasterConfig.MasterSlaveMode = TIM_MASTERSLAVEMODE_DISABLE;
  if (HAL_TIMEx_MasterConfigSynchronization(&htim2, &sMasterConfig) != HAL_OK)
  {
    Error_Handler();
  }
  /* USER CODE BEGIN TIM2_Init 2 */
  HAL_TIM_Base_Start_IT(&htim2);
  /* USER CODE END TIM2_Init 2 */

}

static void MX_TIM3_Init(void)
{

  TIM_ClockConfigTypeDef sClockSourceConfig = {0};
  TIM_MasterConfigTypeDef sMasterConfig = {0};
  TIM_OC_InitTypeDef sConfigOC = {0};

  htim3.Instance = TIM3;
  htim3.Init.Prescaler = 3;
  htim3.Init.CounterMode = TIM_COUNTERMODE_UP;
  htim3.Init.Period = 1000;
  htim3.Init.ClockDivision = TIM_CLOCKDIVISION_DIV1;
  htim3.Init.AutoReloadPreload = TIM_AUTORELOAD_PRELOAD_ENABLE;
  if (HAL_TIM_Base_Init(&htim3) != HAL_OK)
  {
    Error_Handler();
  }
  sClockSourceConfig.ClockSource = TIM_CLOCKSOURCE_INTERNAL;
  if (HAL_TIM_ConfigClockSource(&htim3, &sClockSourceConfig) != HAL_OK)
  {
    Error_Handler();
  }
  if (HAL_TIM_PWM_Init(&htim3) != HAL_OK)
  {
    Error_Handler();
  }
  sMasterConfig.MasterOutputTrigger = TIM_TRGO_RESET;
  sMasterConfig.MasterSlaveMode = TIM_MASTERSLAVEMODE_DISABLE;
  if (HAL_TIMEx_MasterConfigSynchronization(&htim3, &sMasterConfig) != HAL_OK)
  {
    Error_Handler();
  }
  sConfigOC.OCMode = TIM_OCMODE_PWM1;
  sConfigOC.Pulse = 0;
  sConfigOC.OCPolarity = TIM_OCPOLARITY_HIGH;
  sConfigOC.OCFastMode = TIM_OCFAST_DISABLE;
  if (HAL_TIM_PWM_ConfigChannel(&htim3, &sConfigOC, TIM_CHANNEL_1) != HAL_OK)
  {
    Error_Handler();
  }
  if (HAL_TIM_PWM_ConfigChannel(&htim3, &sConfigOC, TIM_CHANNEL_2) != HAL_OK)
  {
    Error_Handler();
  }
  if (HAL_TIM_PWM_ConfigChannel(&htim3, &sConfigOC, TIM_CHANNEL_3) != HAL_OK)
  {
    Error_Handler();
  }
  if (HAL_TIM_PWM_ConfigChannel(&htim3, &sConfigOC, TIM_CHANNEL_4) != HAL_OK)
  {
    Error_Handler();
  }
  /* USER CODE BEGIN TIM3_Init 2 */
  HAL_TIM_PWM_Start(&htim3, TIM_CHANNEL_1);
  HAL_TIM_PWM_Start(&htim3, TIM_CHANNEL_2);
  HAL_TIM_PWM_Start(&htim3, TIM_CHANNEL_3);
  HAL_TIM_PWM_Start(&htim3, TIM_CHANNEL_4);
  /* USER CODE END TIM3_Init 2 */
  HAL_TIM_MspPostInit(&htim3);

}

static void MX_TIM4_Init(void)
{

  TIM_SlaveConfigTypeDef sSlaveConfig = {0};
  TIM_MasterConfigTypeDef sMasterConfig = {0};

  htim4.Instance = TIM4;
  htim4.Init.Prescaler = 1000;
  htim4.Init.CounterMode = TIM_COUNTERMODE_UP;
  htim4.Init.Period = 6550;
  htim4.Init.ClockDivision = TIM_CLOCKDIVISION_DIV4;
  htim4.Init.AutoReloadPreload = TIM_AUTORELOAD_PRELOAD_ENABLE;
  if (HAL_TIM_Base_Init(&htim4) != HAL_OK)
  {
    Error_Handler();
  }
  sSlaveConfig.SlaveMode = TIM_SLAVEMODE_DISABLE;
  sSlaveConfig.InputTrigger = TIM_TS_ITR0;
  if (HAL_TIM_SlaveConfigSynchro(&htim4, &sSlaveConfig) != HAL_OK)
  {
    Error_Handler();
  }
  sMasterConfig.MasterOutputTrigger = TIM_TRGO_RESET;
  sMasterConfig.MasterSlaveMode = TIM_MASTERSLAVEMODE_DISABLE;
  if (HAL_TIMEx_MasterConfigSynchronization(&htim4, &sMasterConfig) != HAL_OK)
  {
    Error_Handler();
  }
  /* USER CODE BEGIN TIM4_Init 2 */
  HAL_TIM_Base_Start_IT(&htim4);
  /* USER CODE END TIM4_Init 2 */

}

static void MX_USART1_UART_Init(void)
{

  huart1.Instance = USART1;
  huart1.Init.BaudRate = 9600;
  huart1.Init.WordLength = UART_WORDLENGTH_8B;
  huart1.Init.StopBits = UART_STOPBITS_1;
  huart1.Init.Parity = UART_PARITY_NONE;
  huart1.Init.Mode = UART_MODE_TX_RX;
  huart1.Init.HwFlowCtl = UART_HWCONTROL_NONE;
  huart1.Init.OverSampling = UART_OVERSAMPLING_16;
  if (HAL_UART_Init(&huart1) != HAL_OK)
  {
    Error_Handler();
  }
  /* USER CODE BEGIN USART1_Init 2 */
//	HAL_UART_Receive_IT(&huart1, (uint8_t*)&uart1In, 1);
  /* USER CODE END USART1_Init 2 */

}

static void MX_USART2_UART_Init(void)
{

  huart2.Instance = USART2;
  huart2.Init.BaudRate = 4800;
  huart2.Init.WordLength = UART_WORDLENGTH_8B;
  huart2.Init.StopBits = UART_STOPBITS_1;
  huart2.Init.Parity = UART_PARITY_NONE;
  huart2.Init.Mode = UART_MODE_TX_RX;
  huart2.Init.HwFlowCtl = UART_HWCONTROL_NONE;
  huart2.Init.OverSampling = UART_OVERSAMPLING_16;
  if (HAL_UART_Init(&huart2) != HAL_OK)
  {
    Error_Handler();
  }
  /* USER CODE BEGIN USART2_Init 2 */
	HAL_UART_Receive_IT(&huart2, (uint8_t*)&uart2In, 1);
  /* USER CODE END USART2_Init 2 */

}

static void MX_USART3_UART_Init(void)
{

  huart3.Instance = USART3;
  huart3.Init.BaudRate = 115200;
  huart3.Init.WordLength = UART_WORDLENGTH_8B;
  huart3.Init.StopBits = UART_STOPBITS_1;
  huart3.Init.Parity = UART_PARITY_NONE;
  huart3.Init.Mode = UART_MODE_TX_RX;
  huart3.Init.HwFlowCtl = UART_HWCONTROL_NONE;
  huart3.Init.OverSampling = UART_OVERSAMPLING_16;
  if (HAL_UART_Init(&huart3) != HAL_OK)
  {
    Error_Handler();
  }
  /* USER CODE BEGIN USART3_Init 2 */
	HAL_UART_Receive_IT(&huart3, (uint8_t*)&uart3In, 1);
  /* USER CODE END USART3_Init 2 */

}

static void MX_DMA_Init(void)
{

  /* DMA controller clock enable */
  __HAL_RCC_DMA1_CLK_ENABLE();

  /* DMA interrupt init */
  /* DMA1_Channel1_IRQn interrupt configuration */
  HAL_NVIC_SetPriority(DMA1_Channel1_IRQn, 1, 0);
  HAL_NVIC_EnableIRQ(DMA1_Channel1_IRQn);

}

static void MX_GPIO_Init(void)
{
  GPIO_InitTypeDef GPIO_InitStruct = {0};

  /* GPIO Ports Clock Enable */
  __HAL_RCC_GPIOC_CLK_ENABLE();
  __HAL_RCC_GPIOD_CLK_ENABLE();
  __HAL_RCC_GPIOA_CLK_ENABLE();
  __HAL_RCC_GPIOB_CLK_ENABLE();

  /*Configure GPIO pin Output Level */
  HAL_GPIO_WritePin(GPIOC, LED_Pin|INH12_Pin|INH34_Pin, GPIO_PIN_RESET);

  /*Configure GPIO pin Output Level */
  HAL_GPIO_WritePin(CS_GPIO_Port, CS_Pin, GPIO_PIN_RESET);

  /*Configure GPIO pin Output Level */
  HAL_GPIO_WritePin(GPIOB, SCL_Pin|SDA_Pin, GPIO_PIN_RESET);

  /*Configure GPIO pins : LED_Pin INH12_Pin INH34_Pin */
  GPIO_InitStruct.Pin = LED_Pin|INH12_Pin|INH34_Pin;
  GPIO_InitStruct.Mode = GPIO_MODE_OUTPUT_PP;
  GPIO_InitStruct.Pull = GPIO_NOPULL;
  GPIO_InitStruct.Speed = GPIO_SPEED_FREQ_LOW;
  HAL_GPIO_Init(GPIOC, &GPIO_InitStruct);

  /*Configure GPIO pin : CS_Pin */
  GPIO_InitStruct.Pin = CS_Pin;
  GPIO_InitStruct.Mode = GPIO_MODE_OUTPUT_PP;
  GPIO_InitStruct.Pull = GPIO_NOPULL;
  GPIO_InitStruct.Speed = GPIO_SPEED_FREQ_LOW;
  HAL_GPIO_Init(CS_GPIO_Port, &GPIO_InitStruct);

  /*Configure GPIO pins : EMSTOP_Pin ENCODER0_Pin */
  GPIO_InitStruct.Pin = EMSTOP_Pin|ENCODER0_Pin;
  GPIO_InitStruct.Mode = GPIO_MODE_IT_RISING_FALLING;
  GPIO_InitStruct.Pull = GPIO_NOPULL;
  HAL_GPIO_Init(GPIOB, &GPIO_InitStruct);

  /*Configure GPIO pin : ENCODER1_Pin */
  GPIO_InitStruct.Pin = ENCODER1_Pin;
  GPIO_InitStruct.Mode = GPIO_MODE_IT_RISING_FALLING;
  GPIO_InitStruct.Pull = GPIO_NOPULL;
  HAL_GPIO_Init(ENCODER1_GPIO_Port, &GPIO_InitStruct);

  /*Configure GPIO pins : SCL_Pin SDA_Pin */
  GPIO_InitStruct.Pin = SCL_Pin|SDA_Pin;
  GPIO_InitStruct.Mode = GPIO_MODE_OUTPUT_PP;
  GPIO_InitStruct.Pull = GPIO_NOPULL;
  GPIO_InitStruct.Speed = GPIO_SPEED_FREQ_LOW;
  HAL_GPIO_Init(GPIOB, &GPIO_InitStruct);

  /* EXTI interrupt init*/
  HAL_NVIC_SetPriority(EXTI3_IRQn, 0, 0);
  HAL_NVIC_EnableIRQ(EXTI3_IRQn);

  HAL_NVIC_SetPriority(EXTI15_10_IRQn, 0, 0);
  HAL_NVIC_EnableIRQ(EXTI15_10_IRQn);

}

/* USER CODE BEGIN 4 */
/*
 * @brief Init powertrain.
 */
void Powertrain_Init()
{
	Powertrain_EnableMotors(1);
	Powertrain_SetDutycycles(0, 0);
}

/*
 * @brief Enable motors
 * @param enableState true for enabling
 */
void Powertrain_EnableMotors(int enableState)
{
	HAL_GPIO_WritePin(INH12_GPIO_Port, INH12_Pin, enableState);
	HAL_GPIO_WritePin(INH34_GPIO_Port, INH34_Pin, enableState);
}

/*
 * @brief Set motor dutycycles
 * @param left dutycycle from -100 to 100
 * @param right dutycycle from -100 to 100
 */
void Powertrain_SetDutycycles(int left, int right)
{
	static int lastLeft = 0;
	static int lastRight = 0;

	if(left > 100)
	{
		left = 100;
	}
	if(left < -100)
	{
		left = -100;
	}

	if(right > 100)
	{
		right = 100;
	}
	if(right < -100)
	{
		right = -100;
	}

	left *= 10;
	right *= 10;

//	if(left != lastLeft)
//	{
		if(left < 0)
		{
			left = -left;
			htim3.Instance->CCR3 = left;
			htim3.Instance->CCR4 = 0;
		}
		else
		{
			htim3.Instance->CCR3 = 0;
			htim3.Instance->CCR4 = left;
		}
		lastLeft = left;
//	}

//	if(right != lastRight)
//	{
		if(right < 0)
		{
			right = -right;
			htim3.Instance->CCR1 = right;
			htim3.Instance->CCR2 = 0;
		}
		else
		{
			htim3.Instance->CCR1 = 0;
			htim3.Instance->CCR2 = right;
		}
//		lastRight = right;
//	}
}

void Servo_Set(int angle)
{
	if(angle < 0) angle = 0;
	else if(angle > 180) angle = 180;

	htim1.Instance->CCR1 = SERVO_OFFSET + (angle * SERVO_RANGE) / 180;
}

void Ballshitter_Init()
{
	shit = false;
	Servo_Set(180);
	HAL_Delay(BALLSHITTER_TIME);
}

void Ballshitter_Drop()
{
	static uint32_t time = 0;
	static bool init = false;
	uint32_t current = HAL_GetTick();
	if(!shit || !init)
	{
		init = true;
		time = HAL_GetTick();
	}
	else if(shit)
	{
		uint32_t delta = current - time;
		if(delta < BALLSHITTER_TIME)
		{
			Servo_Set(180 - (180 * delta) / BALLSHITTER_TIME);
		}
		else if(delta < 2 * BALLSHITTER_TIME)
		{
			Servo_Set((180 * (delta - BALLSHITTER_TIME)) / BALLSHITTER_TIME);
		}
		shit = delta < 3 * BALLSHITTER_TIME;
	}
}

/*
 * @brief Init KVH-C100 compass.
 */
void KVH_Init()
{

	  char kvhConfigNmeaStr[5] = { '=', 't' , ',', '0', '\r' }; // NMEA protocol
	  char kvhConfigSpeedStr[8] = { '=', 'r', ',' , '6' , '0', '0', '\r' }; // 1Hz
	  char kvhConfigUnitStr[5] = { '=', 'i' , ',', 'd', '\r' }; // degrees as unit
	  char kvhDampingTypeStr[7] = { '=',  'd', 't', '0', ',', '3', '\r' }; // double IIR
	  char kvhDampingTimeStr[6] = { '=',  'd', '0', ',', '9', '\r' }; // 24 secs
	  char kvhInitStr[3] = { 's', '\r' }; // start

	  HAL_UART_Transmit(&huart2, (uint8_t*)kvhConfigNmeaStr, 5, 1000);
	  HAL_Delay(200);
	  HAL_UART_Transmit(&huart2, (uint8_t*)kvhConfigUnitStr, 5, 1000);
	  HAL_Delay(200);
	  HAL_UART_Transmit(&huart2, (uint8_t*)kvhConfigSpeedStr, 7, 1000);
	  HAL_Delay(200);
	  HAL_UART_Transmit(&huart2, (uint8_t*)kvhDampingTypeStr, 7, 1000);
	  HAL_Delay(200);
	  HAL_UART_Transmit(&huart2, (uint8_t*)kvhDampingTimeStr, 6, 1000);
	  HAL_Delay(200);
	  HAL_UART_Transmit(&huart2, (uint8_t*)kvhInitStr, 2, 1000);
	  HAL_Delay(200);
}

/* USER CODE END 4 */

void Error_Handler(void)
{
}

/************************ (C) COPYRIGHT STMicroelectronics *****END OF FILE****/
